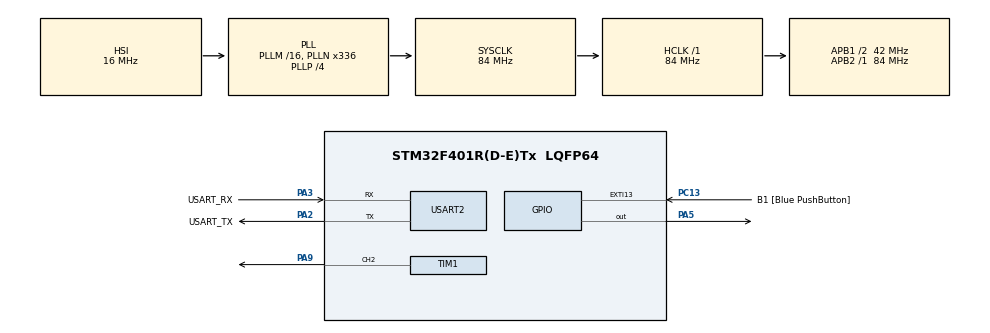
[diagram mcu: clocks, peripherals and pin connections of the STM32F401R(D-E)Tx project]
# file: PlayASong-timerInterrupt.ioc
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Mcu.Family=STM32F4
Mcu.Name=STM32F401R(D-E)Tx
Mcu.Package=LQFP64
NVIC.EXTI15_10_IRQn=true\:0\:0\:false\:false\:true\:true\:true
NVIC.PriorityGroup=NVIC_PRIORITYGROUP_0
NVIC.TIM1_TRG_COM_TIM11_IRQn=true\:0\:0\:false\:false\:true\:true\:true
PA13.GPIO_Label=TMS
PA13.Mode=Serial_Wire
PA13.Signal=SYS_JTMS-SWDIO
PA14.GPIO_Label=TCK
PA14.Mode=Serial_Wire
PA14.Signal=SYS_JTCK-SWCLK
PA2.GPIO_Label=USART_TX
PA2.GPIO_Mode=GPIO_MODE_AF_PP
PA2.GPIO_PuPd=GPIO_NOPULL
PA2.GPIO_Speed=GPIO_SPEED_FREQ_LOW
PA2.Mode=Asynchronous
PA2.Signal=USART2_TX
PA3.GPIO_Label=USART_RX
PA3.GPIO_Mode=GPIO_MODE_AF_PP
PA3.GPIO_PuPd=GPIO_NOPULL
PA3.GPIO_Speed=GPIO_SPEED_FREQ_LOW
PA3.Mode=Asynchronous
PA3.Signal=USART2_RX
PA5.Signal=GPIO_Output
PA9.Signal=S_TIM1_CH2
PB3.GPIO_Label=SWO
PB3.Signal=SYS_JTDO-SWO
PC13-ANTI_TAMP.GPIO_Label=B1 [Blue PushButton]
PC13-ANTI_TAMP.GPIO_ModeDefaultEXTI=GPIO_MODE_IT_FALLING
PC13-ANTI_TAMP.GPIO_PuPd=GPIO_NOPULL
PC13-ANTI_TAMP.Signal=GPXTI13
PC14-OSC32_IN.Mode=LSE-External-Oscillator
PC14-OSC32_IN.Signal=RCC_OSC32_IN
PC15-OSC32_OUT.Mode=LSE-External-Oscillator
PC15-OSC32_OUT.Signal=RCC_OSC32_OUT
PH0\ -\ OSC_IN.Mode=HSE-External-Clock-Source
PH0\ -\ OSC_IN.Signal=RCC_OSC_IN
PH1\ -\ OSC_OUT.Mode=HSE-External-Clock-Source
PH1\ -\ OSC_OUT.Signal=RCC_OSC_OUT
ProjectManager.HeapSize=0x200
ProjectManager.StackSize=0x400
ProjectManager.TargetToolchain=STM32CubeIDE
RCC.48MHZClocksFreq_Value=48000000
RCC.AHBFreq_Value=84000000
RCC.APB1CLKDivider=RCC_HCLK_DIV2
RCC.APB1Freq_Value=42000000
RCC.APB1TimFreq_Value=84000000
RCC.APB2Freq_Value=84000000
RCC.APB2TimFreq_Value=84000000
RCC.CortexFreq_Value=84000000
RCC.HCLKFreq_Value=84000000
RCC.HSE_VALUE=8000000
RCC.HSI_VALUE=16000000
RCC.PLLN=336
RCC.PLLP=RCC_PLLP_DIV4
RCC.PLLQ=7
RCC.SYSCLKFreq_VALUE=84000000
RCC.SYSCLKSource=RCC_SYSCLKSOURCE_PLLCLK
RCC.VCOOutputFreq_Value=336000000
SH.S_TIM1_CH2.0=TIM1_CH2,PWM Generation2 CH2
TIM1.Channel-PWM\ Generation2\ CH2=TIM_CHANNEL_2
TIM1.Prescaler=100
TIM11.Period=10000-1
TIM11.Prescaler=525-1
USART2.VirtualMode=VM_ASYNC
VP_TIM11_VS_ClockSourceINT.Mode=Enable_Timer
VP_TIM1_VS_ClockSourceINT.Mode=Internal
board=NUCLEO-F401RE

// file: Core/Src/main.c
/* USER CODE BEGIN Header */
/**
 ******************************************************************************
 * @file           : main.c
 * @brief          : Play a song with timer interrupts
 ******************************************************************************
 * @attention
 *
 * <h2><center>&copy; Copyright (c) 2021 STMicroelectronics.
 * All rights reserved.</center></h2>
 *
 * This software component is licensed by ST under BSD 3-Clause license,
 * the "License"; You may not use this file except in compliance with the
 * License. You may obtain a copy of the License at:
 *                        opensource.org/licenses/BSD-3-Clause
 *
 ******************************************************************************
 */
/* USER CODE END Header */
#include "main.h"

/* USER CODE BEGIN Includes */
#include <stdlib.h>
#include <stdio.h>
/* USER CODE END Includes */

/* USER CODE BEGIN PD */
#define CROMA_DURATION 125
/* USER CODE END PD */

TIM_HandleTypeDef htim1;
TIM_HandleTypeDef htim11;

UART_HandleTypeDef huart2;

/* USER CODE BEGIN PV */
typedef struct NoteStruct {
	int period;
	int pulse;
} Note;

const Note Do4 = { 3206 - 1 };
const Note Do4D = { 3032 - 1 };
const Note Re4 = { 2857 - 1 };
const Note Re4D = { 2700 - 1 };
const Note Mi4 = { 2545 - 1 };
const Note Fa4 = { 2407 - 1 };
const Note Fa4D = { 2270 - 1 };
const Note Sol4 = { 2142 - 1 };
const Note Sol4D = { 2024 - 1 };
const Note La4 = { 1909 - 1 };
const Note La4D = { 1802 - 1 };
const Note Si4 = { 1700 - 1 };

typedef struct NotePentagramStruct {
	Note note;
	int duration;
} NotePentagram;

// song
NotePentagram song[] = { { Sol4, 6 }, { La4, 2 }, { Sol4, 4 }, { Fa4, 4 }, {
		Mi4, 4 }, { Fa4, 4 }, { Sol4, 8 }, { Re4, 4 }, { Mi4, 4 }, { Fa4, 8 }, {
		Mi4, 4 }, { Fa4, 4 }, { Sol4, 8 }, { Sol4, 6 }, { La4, 2 }, { Sol4, 4 },
		{ Fa4, 4 }, { Mi4, 4 }, { Fa4, 4 }, { Sol4, 8 }, { Re4, 8 },
		{ Sol4, 8 }, { Mi4, 4 }, { Do4, 12 } };

int tempo = 0;
int i = 0;

/* USER CODE END PV */

void SystemClock_Config(void);
static void MX_GPIO_Init(void);
static void MX_USART2_UART_Init(void);
static void MX_TIM1_Init(void);
static void MX_TIM11_Init(void);

/* USER CODE BEGIN 0 */

void setChannel(int period, int pulse) {
	// configuring the period
	htim1.Init.Period = period;
	HAL_TIM_Base_Init(&htim1);

	// configuring the pulse
	TIM_OC_InitTypeDef sConfigOC = { 0 };
	sConfigOC.OCMode = TIM_OCMODE_PWM1;
	sConfigOC.Pulse = pulse;
	sConfigOC.OCPolarity = TIM_OCPOLARITY_HIGH;
	sConfigOC.OCNPolarity = TIM_OCNPOLARITY_HIGH;
	sConfigOC.OCFastMode = TIM_OCFAST_DISABLE;
	sConfigOC.OCIdleState = TIM_OCIDLESTATE_RESET;
	sConfigOC.OCNIdleState = TIM_OCNIDLESTATE_RESET;
	HAL_TIM_PWM_ConfigChannel(&htim1, &sConfigOC, TIM_CHANNEL_2);
}

void playNote(NotePentagram note) {
	setChannel(note.note.period, note.note.period / 2);
	HAL_TIM_PWM_Start(&htim1, TIM_CHANNEL_2);
	HAL_Delay(note.duration * CROMA_DURATION);
	HAL_TIM_PWM_Stop(&htim1, TIM_CHANNEL_2);
}

void playNextNote(NotePentagram note) {
	HAL_TIM_PWM_Stop(&htim1, TIM_CHANNEL_2);
	setChannel(note.note.period, note.note.period / 2);
	HAL_TIM_PWM_Start(&htim1, TIM_CHANNEL_2);
}

/* USER CODE END 0 */

int main(void) {

	/* MCU Configuration--------------------------------------------------------*/

	/* Reset of all peripherals, Initializes the Flash interface and the Systick. */
	HAL_Init();

	/* Configure the system clock */
	SystemClock_Config();

	/* Initialize all configured peripherals */
	MX_GPIO_Init();
	MX_USART2_UART_Init();
	MX_TIM1_Init();
	MX_TIM11_Init();
	/* USER CODE BEGIN 2 */
	// starting TIM11 timer
	HAL_TIM_Base_Start_IT(&htim11);

	/* USER CODE END 2 */

	/* Infinite loop */
	while (1) {

	}
}

void SystemClock_Config(void) {
	RCC_OscInitTypeDef RCC_OscInitStruct = { 0 };
	RCC_ClkInitTypeDef RCC_ClkInitStruct = { 0 };

	/** Configure the main internal regulator output voltage
	 */
	__HAL_RCC_PWR_CLK_ENABLE();
	__HAL_PWR_VOLTAGESCALING_CONFIG(PWR_REGULATOR_VOLTAGE_SCALE2);
	/** Initializes the RCC Oscillators according to the specified parameters
	 * in the RCC_OscInitTypeDef structure.
	 */
	RCC_OscInitStruct.OscillatorType = RCC_OSCILLATORTYPE_HSI;
	RCC_OscInitStruct.HSIState = RCC_HSI_ON;
	RCC_OscInitStruct.HSICalibrationValue = RCC_HSICALIBRATION_DEFAULT;
	RCC_OscInitStruct.PLL.PLLState = RCC_PLL_ON;
	RCC_OscInitStruct.PLL.PLLSource = RCC_PLLSOURCE_HSI;
	RCC_OscInitStruct.PLL.PLLM = 16;
	RCC_OscInitStruct.PLL.PLLN = 336;
	RCC_OscInitStruct.PLL.PLLP = RCC_PLLP_DIV4;
	RCC_OscInitStruct.PLL.PLLQ = 7;
	if (HAL_RCC_OscConfig(&RCC_OscInitStruct) != HAL_OK) {
		Error_Handler();
	}
	/** Initializes the CPU, AHB and APB buses clocks
	 */
	RCC_ClkInitStruct.ClockType = RCC_CLOCKTYPE_HCLK | RCC_CLOCKTYPE_SYSCLK
			| RCC_CLOCKTYPE_PCLK1 | RCC_CLOCKTYPE_PCLK2;
	RCC_ClkInitStruct.SYSCLKSource = RCC_SYSCLKSOURCE_PLLCLK;
	RCC_ClkInitStruct.AHBCLKDivider = RCC_SYSCLK_DIV1;
	RCC_ClkInitStruct.APB1CLKDivider = RCC_HCLK_DIV2;
	RCC_ClkInitStruct.APB2CLKDivider = RCC_HCLK_DIV1;

	if (HAL_RCC_ClockConfig(&RCC_ClkInitStruct, FLASH_LATENCY_2) != HAL_OK) {
		Error_Handler();
	}
}

static void MX_TIM1_Init(void) {

	TIM_ClockConfigTypeDef sClockSourceConfig = { 0 };
	TIM_MasterConfigTypeDef sMasterConfig = { 0 };
	TIM_OC_InitTypeDef sConfigOC = { 0 };
	TIM_BreakDeadTimeConfigTypeDef sBreakDeadTimeConfig = { 0 };

	htim1.Instance = TIM1;
	htim1.Init.Prescaler = 100;
	htim1.Init.CounterMode = TIM_COUNTERMODE_UP;
	htim1.Init.Period = 65535;
	htim1.Init.ClockDivision = TIM_CLOCKDIVISION_DIV1;
	htim1.Init.RepetitionCounter = 0;
	htim1.Init.AutoReloadPreload = TIM_AUTORELOAD_PRELOAD_DISABLE;
	if (HAL_TIM_Base_Init(&htim1) != HAL_OK) {
		Error_Handler();
	}
	sClockSourceConfig.ClockSource = TIM_CLOCKSOURCE_INTERNAL;
	if (HAL_TIM_ConfigClockSource(&htim1, &sClockSourceConfig) != HAL_OK) {
		Error_Handler();
	}
	if (HAL_TIM_PWM_Init(&htim1) != HAL_OK) {
		Error_Handler();
	}
	sMasterConfig.MasterOutputTrigger = TIM_TRGO_RESET;
	sMasterConfig.MasterSlaveMode = TIM_MASTERSLAVEMODE_DISABLE;
	if (HAL_TIMEx_MasterConfigSynchronization(&htim1, &sMasterConfig)
			!= HAL_OK) {
		Error_Handler();
	}
	sConfigOC.OCMode = TIM_OCMODE_PWM1;
	sConfigOC.Pulse = 0;
	sConfigOC.OCPolarity = TIM_OCPOLARITY_HIGH;
	sConfigOC.OCNPolarity = TIM_OCNPOLARITY_HIGH;
	sConfigOC.OCFastMode = TIM_OCFAST_DISABLE;
	sConfigOC.OCIdleState = TIM_OCIDLESTATE_RESET;
	sConfigOC.OCNIdleState = TIM_OCNIDLESTATE_RESET;
	if (HAL_TIM_PWM_ConfigChannel(&htim1, &sConfigOC, TIM_CHANNEL_2)
			!= HAL_OK) {
		Error_Handler();
	}
	sBreakDeadTimeConfig.OffStateRunMode = TIM_OSSR_DISABLE;
	sBreakDeadTimeConfig.OffStateIDLEMode = TIM_OSSI_DISABLE;
	sBreakDeadTimeConfig.LockLevel = TIM_LOCKLEVEL_OFF;
	sBreakDeadTimeConfig.DeadTime = 0;
	sBreakDeadTimeConfig.BreakState = TIM_BREAK_DISABLE;
	sBreakDeadTimeConfig.BreakPolarity = TIM_BREAKPOLARITY_HIGH;
	sBreakDeadTimeConfig.AutomaticOutput = TIM_AUTOMATICOUTPUT_DISABLE;
	if (HAL_TIMEx_ConfigBreakDeadTime(&htim1, &sBreakDeadTimeConfig)
			!= HAL_OK) {
		Error_Handler();
	}
	HAL_TIM_MspPostInit(&htim1);

}

static void MX_TIM11_Init(void) {

	htim11.Instance = TIM11;
	htim11.Init.Prescaler = 525 - 1;
	htim11.Init.CounterMode = TIM_COUNTERMODE_UP;
	htim11.Init.Period = 10000 - 1;
	htim11.Init.ClockDivision = TIM_CLOCKDIVISION_DIV1;
	htim11.Init.AutoReloadPreload = TIM_AUTORELOAD_PRELOAD_DISABLE;
	if (HAL_TIM_Base_Init(&htim11) != HAL_OK) {
		Error_Handler();
	}

}

static void MX_USART2_UART_Init(void) {

	huart2.Instance = USART2;
	huart2.Init.BaudRate = 115200;
	huart2.Init.WordLength = UART_WORDLENGTH_8B;
	huart2.Init.StopBits = UART_STOPBITS_1;
	huart2.Init.Parity = UART_PARITY_NONE;
	huart2.Init.Mode = UART_MODE_TX_RX;
	huart2.Init.HwFlowCtl = UART_HWCONTROL_NONE;
	huart2.Init.OverSampling = UART_OVERSAMPLING_16;
	if (HAL_UART_Init(&huart2) != HAL_OK) {
		Error_Handler();
	}

}

static void MX_GPIO_Init(void) {
	GPIO_InitTypeDef GPIO_InitStruct = { 0 };

	/* GPIO Ports Clock Enable */
	__HAL_RCC_GPIOC_CLK_ENABLE();
	__HAL_RCC_GPIOH_CLK_ENABLE();
	__HAL_RCC_GPIOA_CLK_ENABLE();
	__HAL_RCC_GPIOB_CLK_ENABLE();

	/*Configure GPIO pin Output Level */
	HAL_GPIO_WritePin(GPIOA, GPIO_PIN_5, GPIO_PIN_RESET);

	/*Configure GPIO pin : B1_Pin */
	GPIO_InitStruct.Pin = B1_Pin;
	GPIO_InitStruct.Mode = GPIO_MODE_IT_FALLING;
	GPIO_InitStruct.Pull = GPIO_NOPULL;
	HAL_GPIO_Init(B1_GPIO_Port, &GPIO_InitStruct);

	/*Configure GPIO pin : PA5 */
	GPIO_InitStruct.Pin = GPIO_PIN_5;
	GPIO_InitStruct.Mode = GPIO_MODE_OUTPUT_PP;
	GPIO_InitStruct.Pull = GPIO_NOPULL;
	GPIO_InitStruct.Speed = GPIO_SPEED_FREQ_LOW;
	HAL_GPIO_Init(GPIOA, &GPIO_InitStruct);

	/* EXTI interrupt init*/
	HAL_NVIC_SetPriority(EXTI15_10_IRQn, 0, 0);
	HAL_NVIC_EnableIRQ(EXTI15_10_IRQn);

}

/* USER CODE BEGIN 4 */
// Callback: timer has rolled over -> increment tempo variable
void HAL_TIM_PeriodElapsedCallback(TIM_HandleTypeDef *htim) {
	// Check which version of the timer triggered this callback
	if (htim == &htim11) {
		// if song finished stop speaker and return immediately
		if (i > sizeof(song) / sizeof(song[0])) {
			HAL_TIM_PWM_Stop(&htim1, TIM_CHANNEL_2);
			return;
		}

		// if song just started, play first note
		if (i == 0 && tempo == 1) {
			playNextNote(song[i]);
		}

		// increment the tempo; if it's greater than the note duration go to the next note
		tempo++;
		if (tempo > song[i].duration) {
			tempo = 1;
			i++;
			playNextNote(song[i]);
			//HAL_GPIO_TogglePin(GPIOA, GPIO_PIN_5); // for debugging purposes
		}
	}
}
/* USER CODE END 4 */

void Error_Handler(void) {
	__disable_irq();
	while (1) {
	}
}

/************************ (C) COPYRIGHT STMicroelectronics *****END OF FILE****/
